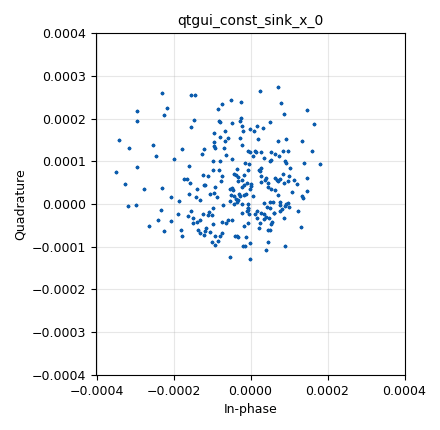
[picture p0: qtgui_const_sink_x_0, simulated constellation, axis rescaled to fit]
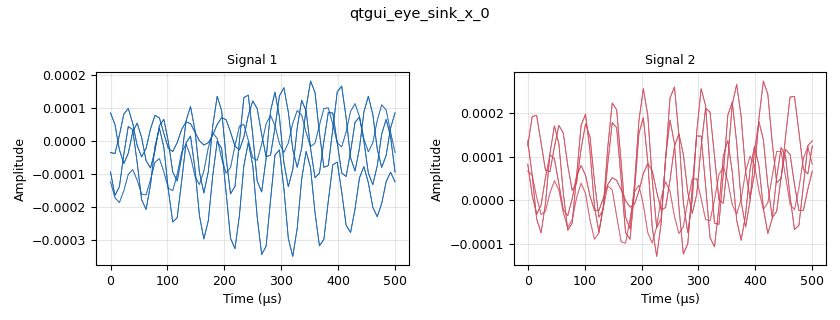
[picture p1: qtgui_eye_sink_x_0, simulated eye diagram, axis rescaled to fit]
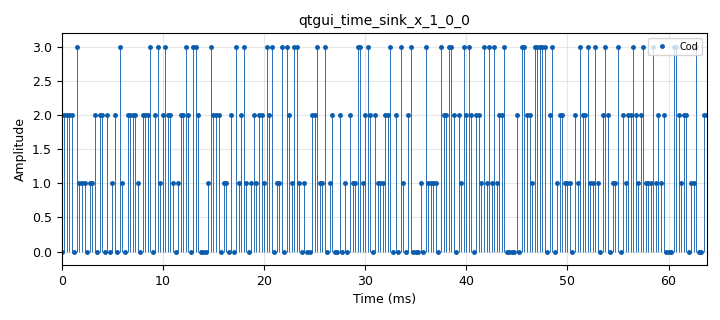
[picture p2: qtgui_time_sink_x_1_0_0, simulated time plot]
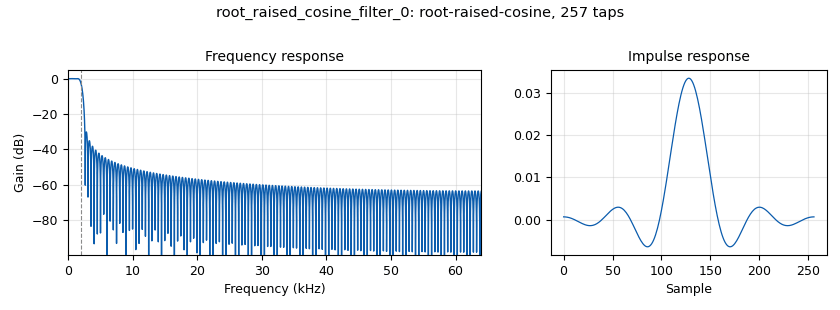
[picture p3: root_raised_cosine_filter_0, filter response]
options:
  parameters:
    generate_options: qt_gui
    id: qpsk
    output_language: python
    title: Basic QPSK starter
  states: {}

blocks:
- name: constellation
  id: variable_constellation
  parameters:
    const_points: '[-1-1j, -1+1j, 1+1j, 1-1j]'
    dims: '1'
    normalization: digital.constellation.AMPLITUDE_NORMALIZATION
    precision: '8'
    rot_sym: '4'
    sym_map: '[0, 1, 3, 2]'
    type: calcdist
  states: {}
- name: samp_rate
  id: variable
  parameters:
    value: symbol_rate*sps
  states: {}
- name: sps
  id: variable
  parameters:
    value: '32'
  states: {}
- name: symbol_rate
  id: variable
  parameters:
    value: '4000'
  states: {}
- name: analog_random_source_x_0
  id: analog_random_source_x
  parameters:
    max: '4'
    min: '0'
    num_samps: '256'
    repeat: 'True'
    type: byte
  states: {}
- name: analog_sig_source_x_0
  id: analog_sig_source_x
  parameters:
    amp: '1'
    freq: '10000'
    offset: '0'
    phase: '0'
    samp_rate: samp_rate
    type: complex
    waveform: analog.GR_COS_WAVE
  states: {}
- name: analog_sig_source_x_0_0
  id: analog_sig_source_x
  parameters:
    amp: '1'
    freq: '10000'
    offset: '0'
    phase: '0'
    samp_rate: samp_rate
    type: complex
    waveform: analog.GR_COS_WAVE
  states: {}
- name: blocks_char_to_float_0
  id: blocks_char_to_float
  parameters:
    scale: '1'
  states: {}
- name: blocks_multiply_xx_0
  id: blocks_multiply_xx
  parameters:
    type: complex
  states: {}
- name: blocks_multiply_xx_0_0
  id: blocks_multiply_xx
  parameters:
    type: complex
  states: {}
- name: blocks_throttle2_0
  id: blocks_throttle2
  parameters:
    limit: items
    samples_per_second: symbol_rate
    type: byte
  states: {}
- name: digital_constellation_decoder_cb_0
  id: digital_constellation_decoder_cb
  parameters:
    constellation: constellation
  states: {}
- name: digital_constellation_encoder_bc_0
  id: digital_constellation_encoder_bc
  parameters:
    constellation: constellation
  states: {}
- name: qtgui_const_sink_x_0
  id: qtgui_const_sink_x
  parameters:
    size: '1024'
    type: complex
  states: {}
- name: qtgui_eye_sink_x_0
  id: qtgui_eye_sink_x
  parameters:
    samp_per_symbol: sps
    size: '1024'
    srate: samp_rate
    type: complex
  states: {}
- name: qtgui_number_sink_0
  id: qtgui_number_sink
  parameters:
    graph_type: qtgui.NUM_GRAPH_HORIZ
    type: byte
  states: {}
- name: qtgui_time_sink_x_1_0_0
  id: qtgui_time_sink_x
  parameters:
    label1: Cod
    marker1: '0'
    size: '256'
    srate: symbol_rate
    stemplot: 'True'
    type: float
    ymax: '3.2'
    ymin: '-.2'
  states: {}
- name: root_raised_cosine_filter_0
  id: root_raised_cosine_filter
  parameters:
    alpha: '0.25'
    decim: '1'
    gain: '1'
    ntaps: 8*sps
    samp_rate: samp_rate
    sym_rate: symbol_rate
    type: fir_filter_ccf
  states: {}
- name: root_raised_cosine_filter_0_0
  id: root_raised_cosine_filter
  parameters:
    alpha: '0.25'
    decim: '1'
    gain: '1'
    ntaps: 8*sps
    samp_rate: samp_rate
    sym_rate: symbol_rate
    type: fir_filter_ccf
  states: {}

connections:
- [analog_random_source_x_0, '0', blocks_throttle2_0, '0']
- [analog_random_source_x_0, '0', digital_constellation_encoder_bc_0, '0']
- [analog_sig_source_x_0, '0', blocks_multiply_xx_0, '1']
- [analog_sig_source_x_0_0, '0', blocks_multiply_xx_0_0, '1']
- [blocks_char_to_float_0, '0', qtgui_time_sink_x_1_0_0, '0']
- [blocks_multiply_xx_0, '0', blocks_multiply_xx_0_0, '0']
- [blocks_multiply_xx_0_0, '0', root_raised_cosine_filter_0_0, '0']
- [blocks_throttle2_0, '0', blocks_char_to_float_0, '0']
- [digital_constellation_decoder_cb_0, '0', qtgui_number_sink_0, '0']
- [digital_constellation_encoder_bc_0, '0', root_raised_cosine_filter_0, '0']
- [root_raised_cosine_filter_0, '0', blocks_multiply_xx_0, '0']
- [root_raised_cosine_filter_0_0, '0', digital_constellation_decoder_cb_0, '0']
- [root_raised_cosine_filter_0_0, '0', qtgui_const_sink_x_0, '0']
- [root_raised_cosine_filter_0_0, '0', qtgui_eye_sink_x_0, '0']

metadata:
  file_format: 1
  grc_version: 3.10.10.0
